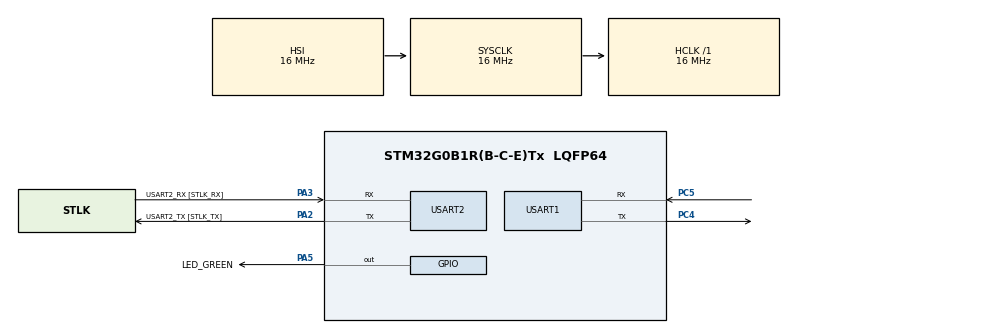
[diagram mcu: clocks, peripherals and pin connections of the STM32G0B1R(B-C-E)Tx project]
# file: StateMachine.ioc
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Mcu.Family=STM32G0
Mcu.Name=STM32G0B1R(B-C-E)Tx
Mcu.Package=LQFP64
NVIC.USART1_IRQn=true\:0\:0\:false\:false\:true\:true\:true\:true
PA13.GPIO_Label=TMS
PA13.Mode=Serial_Wire
PA13.Signal=SYS_SWDIO
PA14-BOOT0.GPIO_Label=TCK
PA14-BOOT0.Mode=Serial_Wire
PA14-BOOT0.Signal=SYS_SWCLK
PA2.GPIO_Label=USART2_TX [STLK_TX]
PA2.Mode=Asynchronous
PA2.Signal=USART2_TX
PA3.GPIO_Label=USART2_RX [STLK_RX]
PA3.Mode=Asynchronous
PA3.Signal=USART2_RX
PA5.GPIO_Label=LED_GREEN
PA5.GPIO_Speed=GPIO_SPEED_FREQ_HIGH
PA5.Signal=GPIO_Output
PC13.Mode=SYS_WakeUp1
PC13.Signal=SYS_WKUP2
PC14-OSC32_IN\ (PC14).Mode=LSE-External-Oscillator
PC14-OSC32_IN\ (PC14).Signal=RCC_OSC32_IN
PC15-OSC32_OUT\ (PC15).Mode=LSE-External-Oscillator
PC15-OSC32_OUT\ (PC15).Signal=RCC_OSC32_OUT
PC4.Mode=Asynchronous
PC4.Signal=USART1_TX
PC5.Mode=Asynchronous
PC5.Signal=USART1_RX
PF0-OSC_IN\ (PF0).GPIO_Label=MCO
PF0-OSC_IN\ (PF0).Mode=HSE-External-Clock-Source
PF0-OSC_IN\ (PF0).Signal=RCC_OSC_IN
ProjectManager.HeapSize=0x200
ProjectManager.StackSize=0x400
ProjectManager.TargetToolchain=STM32CubeIDE
RCC.AHBFreq_Value=16000000
RCC.CortexFreq_Value=16000000
RCC.EXTERNAL_CLOCK_VALUE=12288000
RCC.HCLKFreq_Value=16000000
RCC.HSE_VALUE=8000000
RCC.HSI48_VALUE=48000000
RCC.HSI_VALUE=16000000
RCC.SYSCLKFreq_VALUE=16000000
RCC.USBFreq_Value=48000000
RCC.VCOOutputFreq_Value=128000000
USART1.VirtualMode-Asynchronous=VM_ASYNC
USART2.VirtualMode-Asynchronous=VM_ASYNC
board=NUCLEO-G0B1RE

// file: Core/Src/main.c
/* USER CODE BEGIN Header */
/**
  ******************************************************************************
  * @file           : main.c
  * @brief          : Main program body
  ******************************************************************************
  * @attention
  *
  * Copyright (c) 2024 STMicroelectronics.
  * All rights reserved.
  *
  * This software is licensed under terms that can be found in the LICENSE file
  * in the root directory of this software component.
  * If no LICENSE file comes with this software, it is provided AS-IS.
  *
  ******************************************************************************
  */
/* USER CODE END Header */
#include "main.h"

/* USER CODE BEGIN Includes */
#include <stdlib.h>
#include <string.h>
/* USER CODE END Includes */

/* USER CODE BEGIN PTD */
typedef enum
{
    IDLE = 0,
    PROCESSING,
    ERROR_,
    COMPLETED
} StatesM;
/* USER CODE END PTD */

/* USER CODE BEGIN PD */
#define SIZE_BUFFER 14
#define INIT_VALUE 0
#define TRUE 1
/* USER CODE END PD */

UART_HandleTypeDef huart1;
UART_HandleTypeDef huart2;

/* USER CODE BEGIN PV */
char bufferTx[SIZE_BUFFER];
char bufferRx[SIZE_BUFFER];
/* USER CODE END PV */

void SystemClock_Config(void);
static void MX_GPIO_Init(void);
static void MX_USART2_UART_Init(void);
static void MX_USART1_UART_Init(void);
/* USER CODE BEGIN PFP */

static uint8_t IdleState(char* array);
static uint8_t ProcessingState(char* array);

/* USER CODE END PFP */

int main(void)
{

  /* MCU Configuration--------------------------------------------------------*/

  /* Reset of all peripherals, Initializes the Flash interface and the Systick. */
  HAL_Init();

  /* Configure the system clock */
  SystemClock_Config();

  /* Initialize all configured peripherals */
  MX_GPIO_Init();
  MX_USART2_UART_Init();
  MX_USART1_UART_Init();
  /* USER CODE BEGIN 2 */
  uint8_t state = IDLE;
  /* USER CODE END 2 */

  /* Infinite loop */
  /* USER CODE BEGIN WHILE */
  while (1)
  {

	  switch(state)
	  {
	  case IDLE:

		  state = IdleState(&bufferTx[INIT_VALUE]);

		  break;

	  case PROCESSING:

		 state = ProcessingState(&bufferTx[INIT_VALUE]);

		  break;

	  case ERROR_:

		  state = IDLE;

		  break;

	  case COMPLETED:

		  state = IDLE;

		  break;

	  default:
		  break;
	  }
    /* USER CODE END WHILE */

  }
}

void SystemClock_Config(void)
{
  RCC_OscInitTypeDef RCC_OscInitStruct = {0};
  RCC_ClkInitTypeDef RCC_ClkInitStruct = {0};

  /** Configure the main internal regulator output voltage
  */
  HAL_PWREx_ControlVoltageScaling(PWR_REGULATOR_VOLTAGE_SCALE1);

  /** Initializes the RCC Oscillators according to the specified parameters
  * in the RCC_OscInitTypeDef structure.
  */
  RCC_OscInitStruct.OscillatorType = RCC_OSCILLATORTYPE_HSI;
  RCC_OscInitStruct.HSIState = RCC_HSI_ON;
  RCC_OscInitStruct.HSIDiv = RCC_HSI_DIV1;
  RCC_OscInitStruct.HSICalibrationValue = RCC_HSICALIBRATION_DEFAULT;
  RCC_OscInitStruct.PLL.PLLState = RCC_PLL_NONE;
  if (HAL_RCC_OscConfig(&RCC_OscInitStruct) != HAL_OK)
  {
    Error_Handler();
  }

  /** Initializes the CPU, AHB and APB buses clocks
  */
  RCC_ClkInitStruct.ClockType = RCC_CLOCKTYPE_HCLK|RCC_CLOCKTYPE_SYSCLK
                              |RCC_CLOCKTYPE_PCLK1;
  RCC_ClkInitStruct.SYSCLKSource = RCC_SYSCLKSOURCE_HSI;
  RCC_ClkInitStruct.AHBCLKDivider = RCC_SYSCLK_DIV1;
  RCC_ClkInitStruct.APB1CLKDivider = RCC_HCLK_DIV1;

  if (HAL_RCC_ClockConfig(&RCC_ClkInitStruct, FLASH_LATENCY_0) != HAL_OK)
  {
    Error_Handler();
  }
}

static void MX_USART1_UART_Init(void)
{

  huart1.Instance = USART1;
  huart1.Init.BaudRate = 115200;
  huart1.Init.WordLength = UART_WORDLENGTH_8B;
  huart1.Init.StopBits = UART_STOPBITS_1;
  huart1.Init.Parity = UART_PARITY_NONE;
  huart1.Init.Mode = UART_MODE_TX_RX;
  huart1.Init.HwFlowCtl = UART_HWCONTROL_NONE;
  huart1.Init.OverSampling = UART_OVERSAMPLING_16;
  huart1.Init.OneBitSampling = UART_ONE_BIT_SAMPLE_DISABLE;
  huart1.Init.ClockPrescaler = UART_PRESCALER_DIV1;
  huart1.AdvancedInit.AdvFeatureInit = UART_ADVFEATURE_NO_INIT;
  if (HAL_UART_Init(&huart1) != HAL_OK)
  {
    Error_Handler();
  }
  if (HAL_UARTEx_SetTxFifoThreshold(&huart1, UART_TXFIFO_THRESHOLD_1_8) != HAL_OK)
  {
    Error_Handler();
  }
  if (HAL_UARTEx_SetRxFifoThreshold(&huart1, UART_RXFIFO_THRESHOLD_1_8) != HAL_OK)
  {
    Error_Handler();
  }
  if (HAL_UARTEx_DisableFifoMode(&huart1) != HAL_OK)
  {
    Error_Handler();
  }

}

static void MX_USART2_UART_Init(void)
{

  huart2.Instance = USART2;
  huart2.Init.BaudRate = 115200;
  huart2.Init.WordLength = UART_WORDLENGTH_8B;
  huart2.Init.StopBits = UART_STOPBITS_1;
  huart2.Init.Parity = UART_PARITY_NONE;
  huart2.Init.Mode = UART_MODE_TX_RX;
  huart2.Init.HwFlowCtl = UART_HWCONTROL_NONE;
  huart2.Init.OverSampling = UART_OVERSAMPLING_16;
  huart2.Init.OneBitSampling = UART_ONE_BIT_SAMPLE_DISABLE;
  huart2.Init.ClockPrescaler = UART_PRESCALER_DIV1;
  huart2.AdvancedInit.AdvFeatureInit = UART_ADVFEATURE_NO_INIT;
  if (HAL_UART_Init(&huart2) != HAL_OK)
  {
    Error_Handler();
  }
  if (HAL_UARTEx_SetTxFifoThreshold(&huart2, UART_TXFIFO_THRESHOLD_1_8) != HAL_OK)
  {
    Error_Handler();
  }
  if (HAL_UARTEx_SetRxFifoThreshold(&huart2, UART_RXFIFO_THRESHOLD_1_8) != HAL_OK)
  {
    Error_Handler();
  }
  if (HAL_UARTEx_DisableFifoMode(&huart2) != HAL_OK)
  {
    Error_Handler();
  }

}

static void MX_GPIO_Init(void)
{
  GPIO_InitTypeDef GPIO_InitStruct = {0};

  /* GPIO Ports Clock Enable */
  __HAL_RCC_GPIOC_CLK_ENABLE();
  __HAL_RCC_GPIOF_CLK_ENABLE();
  __HAL_RCC_GPIOA_CLK_ENABLE();

  /*Configure GPIO pin Output Level */
  HAL_GPIO_WritePin(LED_GREEN_GPIO_Port, LED_GREEN_Pin, GPIO_PIN_RESET);

  /*Configure GPIO pin : LED_GREEN_Pin */
  GPIO_InitStruct.Pin = LED_GREEN_Pin;
  GPIO_InitStruct.Mode = GPIO_MODE_OUTPUT_PP;
  GPIO_InitStruct.Pull = GPIO_NOPULL;
  GPIO_InitStruct.Speed = GPIO_SPEED_FREQ_HIGH;
  HAL_GPIO_Init(LED_GREEN_GPIO_Port, &GPIO_InitStruct);

}

/* USER CODE BEGIN 4 */
static uint8_t IdleState(char* array){

	uint8_t state = IDLE;

	HAL_UART_Receive(&huart1, (uint8_t*)&bufferRx[INIT_VALUE],SIZE_BUFFER,HAL_MAX_DELAY);

	if(strcmp(bufferRx,"INICIO") == !TRUE)
	{
		strcpy(bufferTx,"EDAD?");
		HAL_UART_Transmit(&huart1, (uint8_t*)&bufferTx[INIT_VALUE],SIZE_BUFFER,HAL_MAX_DELAY);
		state = PROCESSING;
	}

	return state;
}

static uint8_t ProcessingState(char* array){

	uint8_t edad;
	uint8_t cont = 0;
	uint8_t state = PROCESSING;

	if(HAL_UART_Receive(&huart1, (uint8_t*)&bufferRx[INIT_VALUE],SIZE_BUFFER,HAL_MAX_DELAY) == HAL_OK)
	{
		edad = atoi(array);
		if(edad > 17){

			strcpy(bufferTx,"PUEDES PASAR");
			state = COMPLETED;
		}
	}
	else{
		cont++;
		HAL_Delay(100);

		if(cont == 200){

			state = ERROR_;
		}
	}

	return state;
}

/* USER CODE END 4 */

void Error_Handler(void)
{
  __disable_irq();
  while (1)
  {
  }
}
